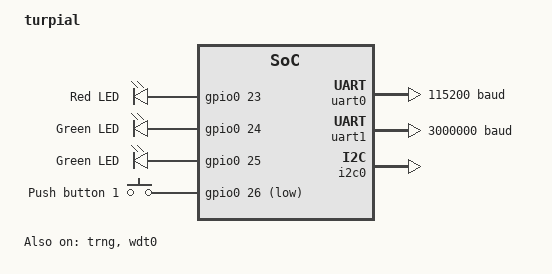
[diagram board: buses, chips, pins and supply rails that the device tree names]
/*
 * Copyright (c) 2026 Jean-Pierre De Jesus DIAZ <me@jeandudey.tech>
 *
 * SPDX-License-Identifier: Apache-2.0
 */

/dts-v1/;

#include <ti/cc1312r.dtsi>
#include "turpial-cc1312r-pinctrl.dtsi"
#include <zephyr/dt-bindings/input/input-event-codes.h>

/ {
	model = "turpial";
	compatible = "locha,turpial-cc1312r";

	chosen {
		zephyr,console = &uart0;
		zephyr,flash = &flash0;
		zephyr,ppp-uart = &uart1;
		zephyr,shell-uart = &uart0;
		zephyr,sram = &sram0;
	};

	leds {
		compatible = "gpio-leds";

		led0: led_0 {
			gpios = <&gpio0 23 GPIO_ACTIVE_HIGH>;
			label = "Red LED";
		};

		led1: led_1 {
			gpios = <&gpio0 24 GPIO_ACTIVE_HIGH>;
			label = "Green LED";
		};

		led2: led_3 {
			gpios = <&gpio0 25 GPIO_ACTIVE_HIGH>;
			label = "Green LED";
		};
	};

	keys {
		compatible = "gpio-keys";

		btn0: btn_0 {
			gpios = <&gpio0 26 GPIO_ACTIVE_LOW>;
			label = "Push button 1";
			zephyr,code = <INPUT_KEY_0>;
		};
	};
};

&cpu0 {
	clock-frequency = <48000000>;
};

&flash0 {
	partitions {
		/* 40 KiB (0xa000) for MCUboot */
		boot_partition: partition@0 {
			label = "mcuboot";
			reg = <0x00000000 0x0000a000>;
		};

		/* 136 KiB (0x22000) per slot for application */
		slot0_partition: partition@a000 {
			label = "image-0";
			reg = <0x0000a000 0x00022000>;
		};

		slot1_partition: partition@2c000 {
			label = "image-1";
			reg = <0x0002c000 0x00022000>;
		};

		/* 32 KiB (0x8000) for storage */
		storage_partition: partition@4e000 {
			label = "storage";
			reg = <0x0004e000 0x00008000>;
		};

		/* CCFG (customer configuration area) is located in uppermost
		 * flash sector (0x2000/8 KiB @ 0x56000), keep it unused.
		 */
	};
};

&trng {
	status = "okay";
};

&gpio0 {
	status = "okay";
};

&uart0 {
	status = "okay";
	current-speed = <115200>;
	pinctrl-0 = <&uart0_rx_default &uart0_tx_default>;
	pinctrl-names = "default";
};

&uart1 {
	status = "okay";
	current-speed = <3000000>;
	pinctrl-0 = <&uart1_rx_default &uart1_tx_default>;
	pinctrl-names = "default";
};

&i2c0 {
	status = "okay";
	pinctrl-0 = <&i2c0_scl_default &i2c0_sda_default>;
	pinctrl-1 = <&i2c0_scl_sleep &i2c0_sda_sleep>;
	pinctrl-names = "default", "sleep";
};

&wdt0 {
	status = "okay";
};
